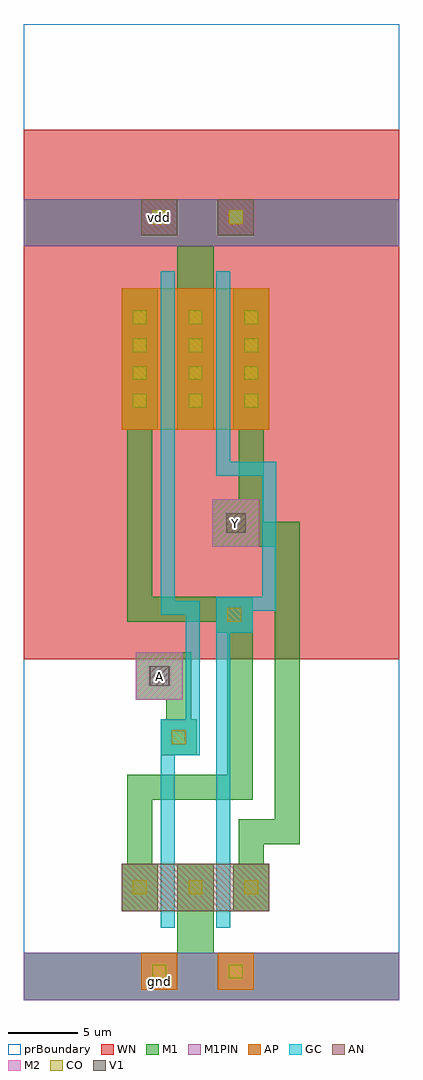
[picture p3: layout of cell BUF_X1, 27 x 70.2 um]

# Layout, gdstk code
import gdstk
lib = gdstk.Library(unit=1e-6, precision=1e-09)
def R(c, l, rs):  # rectangles x0, y0, x1, y1
    for r in rs: c.add(gdstk.rectangle(r[:2], r[2:], *l))
def A(c, l, x, y, w, h, nx, ny, dx, dy):  # array of equal rectangles
    R(c, l, [(x+i*dx, y+j*dy, x+i*dx+w, y+j*dy+h) for i in range(nx) for j in range(ny)])
def P(c, l, *ps):  # polygons
    for p in ps: c.add(gdstk.Polygon(p, *l))
AP = (3, 1)
AN = (3, 2)
GC = (8, 1)
CO = (11, 0)
M1 = (13, 0)
V1 = (19, 0)
M2 = (20, 0)
M1PIN = (48, 1)
WN = (140, 0)
prBoundary = (235, 4)

buf_x1 = lib.new_cell('BUF_X1')
R(buf_x1, AP, [(8.45,0.75,11.05,3.35), (13.95,0.75,16.55,3.35), (7.05,41,17.65,51.2)])
R(buf_x1, AN, [(7.05,6.4,17.65,9.8), (8.45,55,11.05,57.6), (13.95,55,16.55,57.6)])
P(buf_x1, GC, [(9.85,5.2),(9.85,20.2),(11.65,20.2),(11.65,27.7),(9.85,27.7),(9.85,52.4),(10.85,52.4),(10.85,28.7),(12.65,28.7),(12.65,17.6),(10.85,17.6),(10.85,5.2)],
  [(13.85,5.2),(13.85,29),(17.15,29),(17.15,37.7),(13.85,37.7),(13.85,52.4),(14.85,52.4),(14.85,38.7),(18.15,38.7),(18.15,28),(16.45,28),(16.45,26.4),(14.85,26.4),(14.85,5.2)])
A(buf_x1, CO, 7.85, 7.6, 1, 1, 3, 2, 4, 35)
A(buf_x1, CO, 7.85, 44.6, 1, 1, 3, 3, 4, 2)
R(buf_x1, CO, [(9.25,1.55,10.25,2.55), (14.75,1.55,15.75,2.55), (10.65,18.4,11.65,19.4), (14.65,27.2,15.65,28.2), (9.25,55.8,10.25,56.8), (14.75,55.8,15.75,56.8)])
P(buf_x1, M1, [(0,0),(0,3.4),(11.05,3.4),(11.05,9.8),(13.65,9.8),(13.65,3.4),(27,3.4),(27,0)],
  [(9.85,17.6),(9.85,20.2),(10.25,20.2),(10.25,21.6),(8.05,21.6),(8.05,25),(12.05,25),(12.05,20.2),(12.45,20.2),(12.45,17.6)],
  [(7.05,6.4),(7.05,9.8),(7.45,9.8),(7.45,16.2),(14.65,16.2),(14.65,26.4),(13.85,26.4),(13.85,27.2),(7.45,27.2),(7.45,41),(7.05,41),(7.05,51.2),(9.65,51.2),(9.65,41),(9.25,41),(9.25,29),(16.45,29),(16.45,14.4),(9.25,14.4),(9.25,9.8),(9.65,9.8),(9.65,6.4)],
  [(15.05,6.4),(15.05,9.8),(15.45,9.8),(15.45,13),(18.05,13),(18.05,32.6),(13.55,32.6),(13.55,36),(15.45,36),(15.45,41),(15.05,41),(15.05,51.2),(17.65,51.2),(17.65,41),(17.25,41),(17.25,34.4),(19.85,34.4),(19.85,11.2),(17.25,11.2),(17.25,9.8),(17.65,9.8),(17.65,6.4)],
  [(11.05,41),(11.05,54.2),(0,54.2),(0,57.6),(27,57.6),(27,54.2),(13.65,54.2),(13.65,41)])
R(buf_x1, V1, [(9.05,22.6,10.45,24), (14.55,33.6,15.95,35)])
R(buf_x1, M2, [(8.05,21.6,11.45,25), (13.55,32.6,16.95,36)])
R(buf_x1, M1PIN, [(0,0,27,3.4), (0,54.2,27,57.6)])
R(buf_x1, WN, [(0,24.5,27,62.6)])
R(buf_x1, prBoundary, [(0,0,27,70.2)])
buf_x1.add(gdstk.Label('Y', (15.25,34.3), layer=49, texttype=0))
buf_x1.add(gdstk.Label('A', (9.75,23.3), layer=49, texttype=0))
buf_x1.add(gdstk.Label('gnd', (9.75,1.3), layer=48, texttype=0))
buf_x1.add(gdstk.Label('vdd', (9.75,56.3), layer=48, texttype=0))
buf_x1.add(gdstk.Label('Y', (15.25,34.3), layer=48, texttype=0))
buf_x1.add(gdstk.Label('A', (9.75,23.3), layer=48, texttype=0))

lib.write_gds('BUF_X1.gds')
